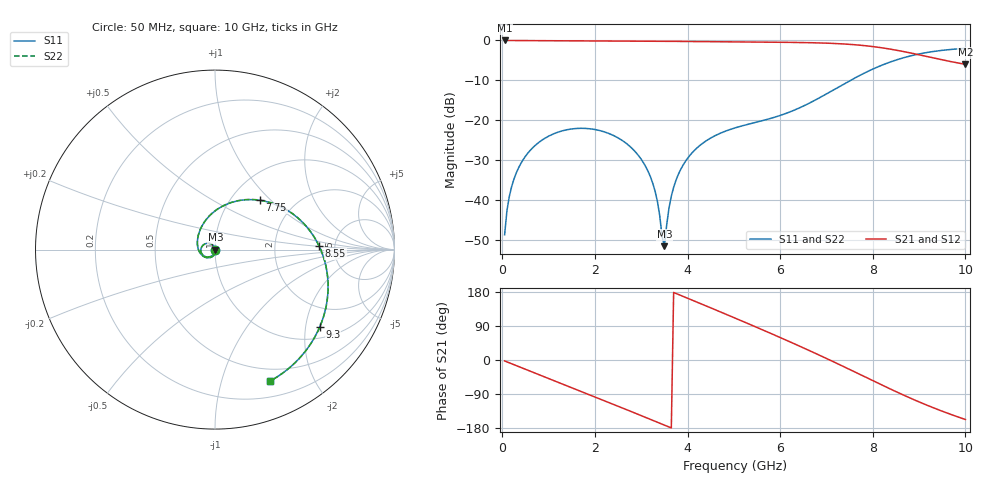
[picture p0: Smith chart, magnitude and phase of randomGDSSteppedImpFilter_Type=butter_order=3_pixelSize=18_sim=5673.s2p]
! freq	dB(S11)	phase(S11)	dB(S12)	phase(S12)
!  dB(S21)	phase(S21)	dB(S22)	phase(S22)
!S-par simulation data
#  GHz  S  DB  R 50
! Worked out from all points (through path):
!   200 points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, 50 MHz to 10 GHz, reference 50 ohm
!   highest |S21| = -0.01 dB at 50 MHz (marker M1); lowest = -6.0 dB at 10 GHz (marker M2)
!   group delay of S21, straight-line fit = 146 ps
!   lowest |S11| = -51.6 dB at 3.5 GHz (marker M3), VSWR 1.01, Z = 50.3 - j0.0464 ohm
!   |S11| at or under -10 dB: start of sweep to 7.521 GHz
!   |S22| runs from -50.2 to -2.0 dB; largest |S21 - S12| = 0
!   S11 on the Smith chart (normalised r, x): 50 MHz: 1.00, -0.01; 7.75 GHz: 1.35, +0.86; 8.55 GHz: 3.74, +0.24; 9.3 GHz: 1.31, -2.40; 10 GHz: 0.36, -1.43
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0.05  -48.76 -87.6  -0.01 -2.5  -0.01 -2.5  -48.76 -87.6
0.2  -36.75 -98.8  -0.02 -9.8  -0.02 -9.8  -36.75 -98.8
0.5  -29.05 -114.5  -0.04 -24.5  -0.04 -24.5  -29.05 -114.5
1.15  -23.23 -147.1  -0.09 -56.1  -0.09 -56.1  -23.23 -147.2
1.75  -22.04 -176.8  -0.13 -85.3  -0.13 -85.3  -22.04 -176.9
2.3  -23.33 155.8  -0.15 -112.2  -0.15 -112.2  -23.33 155.6
2.9  -28.30 124.6  -0.18 -141.8  -0.18 -141.8  -28.29 124.0
3.2  -34.23 106.1  -0.19 -156.7  -0.19 -156.7  -34.21 104.9
3.4  -43.96 80.9  -0.21 -166.7  -0.21 -166.7  -43.72 77.1
3.5  -51.60 -10.1  -0.22 -171.7  -0.22 -171.7  -50.24 -7.7
3.65  -39.05 -77.3  -0.23 -179.3  -0.23 -179.3  -38.96 -74.7
3.9  -31.34 -97.2  -0.25 168.1  -0.25 168.1  -31.32 -96.0
4.35  -25.59 -122.6  -0.30 145.3  -0.30 145.3  -25.59 -121.9
5.05  -21.85 -160.3  -0.37 109.4  -0.37 109.4  -21.85 -159.6
5.85  -19.37 155.6  -0.44 67.4  -0.44 67.4  -19.37 156.2
6.7  -15.31 107.5  -0.58 21.0  -0.58 21.0  -15.32 108.0
7.2  -12.09 79.1  -0.78 -7.4  -0.78 -7.4  -12.09 79.5
7.75  -8.59 47.6  -1.22 -39.7  -1.22 -39.7  -8.59 47.8
8.35  -5.52 13.2  -2.13 -74.8  -2.13 -74.8  -5.52 13.4
8.55  -4.74 2.1  -2.54 -86.2  -2.54 -86.2  -4.74 2.3
9.3  -2.79 -36.5  -4.36 -125.7  -4.36 -125.7  -2.79 -36.4
10  -2.00 -67.5  -5.99 -157.0  -5.99 -157.0  -2.00 -67.4
